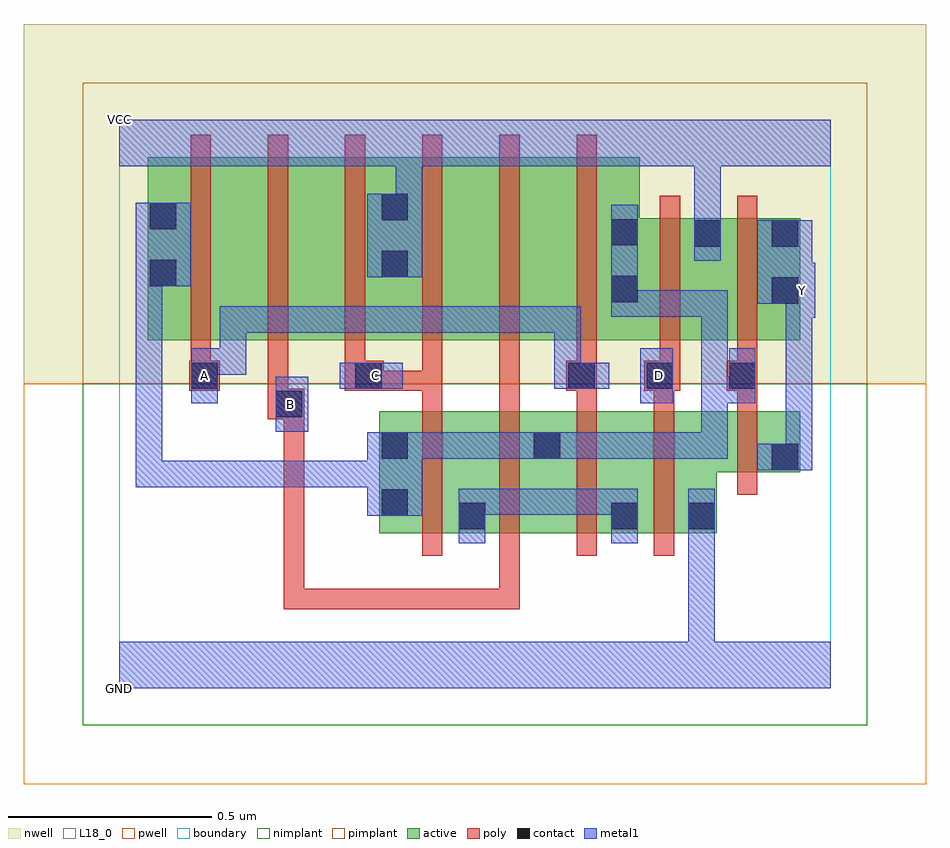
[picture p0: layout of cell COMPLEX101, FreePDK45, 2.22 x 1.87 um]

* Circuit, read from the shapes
.subckt COMPLEX101 A B C D GND VCC Y
M1 n1 C n2 VSUBS nfet w=0.3u l=0.05u
M2 n2 B n1 VSUBS nfet w=0.3u l=0.05u
M3 n1 A n2 VSUBS nfet w=0.3u l=0.05u
M4 GND D n1 VSUBS nfet w=0.3u l=0.05u
M5 Y n2 GND VSUBS nfet w=0.15u l=0.05u
M6 n3 A n2 n4 pfet w=0.45u l=0.05u
M7 n5 B n3 n4 pfet w=0.45u l=0.05u
M8 VCC C n5 n4 pfet w=0.45u l=0.05u
M9 n6 C VCC n4 pfet w=0.45u l=0.05u
M10 n7 B n6 n4 pfet w=0.45u l=0.05u
M11 n2 A n7 n4 pfet w=0.45u l=0.05u
M12 VCC D n2 n4 pfet w=0.3u l=0.05u
M13 Y n2 VCC n4 pfet w=0.3u l=0.05u
.ends

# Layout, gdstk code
import gdstk
lib = gdstk.Library(unit=1e-6, precision=1e-09)
def R(c, l, rs):  # rectangles x0, y0, x1, y1
    for r in rs: c.add(gdstk.rectangle(r[:2], r[2:], *l))
def A(c, l, x, y, w, h, nx, ny, dx, dy):  # array of equal rectangles
    R(c, l, [(x+i*dx, y+j*dy, x+i*dx+w, y+j*dy+h) for i in range(nx) for j in range(ny)])
active = (1, 0)
pwell = (2, 0)
nwell = (3, 0)
nimplant = (4, 0)
pimplant = (5, 0)
poly = (9, 0)
contact = (10, 0)
metal1 = (11, 0)
L18_0 = (18, 0)
boundary = (235, 0)

complex101 = lib.new_cell('COMPLEX101')
R(complex101, active, [(0.64,0.382,0.905,0.682), (0.83,0.382,1.09,0.682), (1.015,0.382,1.28,0.682), (1.205,0.382,1.47,0.682), (1.395,0.382,1.47,0.532), (0.83,0.387,0.905,0.682), (1.205,0.387,1.28,0.547), (0.64,0.395,0.715,0.682), (1.015,0.395,1.09,0.635), (1.395,0.532,1.675,0.682), (1.6,0.532,1.675,0.682), (0.07,0.857,0.295,1.307), (0.07,0.857,0.175,1.2), (0.295,0.857,0.485,1.307), (0.485,0.857,0.715,1.307), (0.64,0.857,0.865,1.307), (0.64,0.857,0.715,1.255), (0.865,0.857,1.055,1.307), (1.055,0.857,1.28,1.307), (1.205,0.857,1.485,1.157), (1.205,0.857,1.28,1.2), (1.41,0.857,1.675,1.157), (1.6,0.857,1.675,1.157), (1.41,1.007,1.485,1.157)])
R(complex101, pwell, [(-0.235,-0.235,1.985,0.75)])
R(complex101, nwell, [(-0.235,0.75,1.985,1.635)])
R(complex101, nimplant, [(-0.09,-0.09,1.84,0.75)])
R(complex101, pimplant, [(-0.09,0.75,1.84,1.49)])
A(complex101, poly, 0.745, 0.327, 0.05, 0.41, 4, 1, 0.19, 0)
A(complex101, poly, 0.745, 0.687, 0.05, 0.095, 4, 1, 0.19, 0)
A(complex101, poly, 0.175, 0.802, 0.05, 0.56, 6, 1, 0.19, 0)
R(complex101, poly, [(0.405,0.195,0.455,0.245), (0.405,0.195,0.455,0.245), (0.405,0.195,0.455,0.245), (0.405,0.195,0.455,0.245), (0.405,0.195,0.455,0.245), (0.405,0.195,0.587,0.245), (0.405,0.195,0.455,0.712), (0.537,0.195,0.587,0.245), (0.537,0.195,0.587,0.245), (0.537,0.195,0.587,0.245), (0.537,0.195,0.782,0.245), (0.732,0.195,0.782,0.245), (0.732,0.195,0.985,0.245), (0.935,0.195,0.985,0.245), (0.935,0.195,0.985,0.245), (0.935,0.195,0.985,0.245), (0.935,0.195,0.985,0.377), (1.52,0.477,1.57,0.737), (0.365,0.662,0.455,0.737), (0.405,0.662,0.455,0.712), (0.405,0.662,0.455,0.712), (0.405,0.662,0.455,0.712), (0.405,0.662,0.455,0.712), (0.365,0.687,0.415,0.852), (1.52,0.687,1.57,0.782), (0.172,0.732,0.247,0.807), (0.555,0.732,0.65,0.807), (0.6,0.732,0.65,0.782), (0.6,0.732,0.65,0.782), (0.6,0.732,0.795,0.782), (0.745,0.732,0.795,0.852), (0.745,0.732,0.795,0.782), (0.935,0.732,0.985,0.852), (0.935,0.732,0.985,0.782), (1.1,0.732,1.175,0.807), (1.292,0.732,1.38,0.807), (1.495,0.732,1.57,0.807), (0.175,0.757,0.225,0.852), (0.555,0.757,0.605,0.852), (1.125,0.757,1.175,0.852), (1.33,0.757,1.38,0.852), (1.52,0.757,1.57,0.852), (1.33,0.802,1.38,1.212), (1.52,0.802,1.57,1.212)])
R(complex101, contact, [(0.835,0.392,0.9,0.457), (1.21,0.392,1.275,0.457), (1.4,0.392,1.465,0.457), (0.645,0.425,0.71,0.49), (1.605,0.537,1.67,0.602), (0.645,0.565,0.71,0.63), (1.02,0.565,1.085,0.63), (0.385,0.667,0.45,0.732), (0.177,0.737,0.242,0.802), (0.58,0.737,0.645,0.802), (1.105,0.737,1.17,0.802), (1.297,0.737,1.362,0.802), (1.5,0.737,1.565,0.802), (1.605,0.947,1.67,1.012), (1.21,0.95,1.275,1.015), (0.075,0.99,0.14,1.055), (0.645,1.012,0.71,1.077), (1.415,1.087,1.48,1.152), (1.605,1.087,1.67,1.152), (1.21,1.09,1.275,1.155), (0.075,1.13,0.14,1.195), (0.645,1.152,0.71,1.217)])
R(complex101, metal1, [(0,0,1.75,0.115), (1.4,0.05,1.465,0.115), (1.4,0.05,1.465,0.115), (1.4,0.05,1.465,0.422), (0.835,0.357,0.9,0.492), (1.21,0.357,1.275,0.492), (1.4,0.357,1.465,0.422), (1.4,0.357,1.465,0.422), (1.4,0.357,1.465,0.492), (0.61,0.425,0.745,0.63), (0.835,0.427,0.9,0.492), (0.835,0.427,0.9,0.492), (0.835,0.427,1.05,0.492), (0.985,0.427,1.05,0.492), (0.985,0.427,1.05,0.492), (0.985,0.427,1.05,0.492), (0.985,0.427,1.275,0.492), (0.04,0.495,0.105,0.56), (0.04,0.495,0.105,0.56), (0.04,0.495,0.105,0.56), (0.04,0.495,0.312,0.56), (0.04,0.495,0.105,1.055), (0.247,0.495,0.312,0.56), (0.247,0.495,0.312,0.56), (0.247,0.495,0.312,0.56), (0.247,0.495,0.45,0.56), (0.385,0.495,0.45,0.56), (0.385,0.495,0.45,0.56), (0.385,0.495,0.45,0.56), (0.385,0.495,0.607,0.56), (0.542,0.495,0.607,0.56), (0.542,0.495,0.675,0.56), (1.57,0.537,1.705,0.602), (1.64,0.537,1.705,0.977), (0.68,0.565,0.745,0.63), (0.68,0.565,0.745,0.63), (0.68,0.565,0.912,0.63), (0.847,0.565,0.912,0.63), (0.847,0.565,0.912,0.63), (0.847,0.565,0.912,0.63), (0.847,0.565,1.05,0.63), (0.985,0.565,1.12,0.63), (1.055,0.565,1.12,0.63), (1.055,0.565,1.12,0.63), (1.055,0.565,1.272,0.63), (1.207,0.565,1.272,0.63), (1.207,0.565,1.272,0.63), (1.207,0.565,1.272,0.63), (1.207,0.565,1.497,0.63), (1.432,0.565,1.497,0.63), (1.432,0.565,1.497,0.767), (0.385,0.632,0.465,0.767), (0.177,0.702,0.242,0.837), (1.282,0.702,1.362,0.837), (1.432,0.702,1.497,0.767), (1.432,0.702,1.565,0.767), (1.432,0.702,1.497,0.98), (1.5,0.702,1.565,0.837), (0.542,0.737,0.697,0.802), (1.07,0.737,1.135,0.802), (1.07,0.737,1.135,0.802), (1.07,0.737,1.205,0.802), (1.07,0.737,1.135,0.94), (0.177,0.772,0.312,0.837), (0.247,0.772,0.312,0.837), (0.247,0.772,0.312,0.94), (0.247,0.875,0.312,0.94), (0.247,0.875,0.45,0.94), (0.385,0.875,0.45,0.94), (0.385,0.875,0.45,0.94), (0.385,0.875,0.45,0.94), (0.385,0.875,0.602,0.94), (0.537,0.875,0.602,0.94), (0.537,0.875,0.602,0.94), (0.537,0.875,0.602,0.94), (0.537,0.875,0.745,0.94), (0.68,0.875,0.745,0.94), (0.68,0.875,0.912,0.94), (0.847,0.875,0.912,0.94), (0.847,0.875,0.912,0.94), (0.847,0.875,0.912,0.94), (0.847,0.875,1.135,0.94), (1.07,0.875,1.135,0.94), (1.64,0.912,1.712,1.047), (1.21,0.915,1.275,0.98), (1.21,0.915,1.275,0.98), (1.21,0.915,1.497,0.98), (1.21,0.915,1.275,1.19), (1.432,0.915,1.497,0.98), (1.57,0.947,1.705,1.152), (1.64,0.947,1.705,1.012), (0.04,0.99,0.175,1.195), (0.61,1.012,0.745,1.217), (1.415,1.052,1.48,1.187), (1.415,1.122,1.48,1.35), (0.68,1.152,0.745,1.35), (0,1.285,1.75,1.4), (1.415,1.285,1.48,1.35), (1.415,1.285,1.48,1.35)])
R(complex101, L18_0, [(0,0,1.75,0.115), (1.4,0.05,1.465,0.115), (1.4,0.05,1.465,0.115), (1.4,0.05,1.465,0.422), (1.4,0.357,1.465,0.492), (1.4,0.357,1.465,0.422), (1.4,0.357,1.465,0.422), (1.57,0.537,1.705,0.602), (1.64,0.537,1.705,0.977), (0.385,0.632,0.465,0.767), (0.387,0.667,0.452,0.732), (0.177,0.702,0.242,0.837), (1.282,0.702,1.362,0.837), (0.177,0.737,0.242,0.802), (0.542,0.737,0.697,0.802), (0.597,0.737,0.662,0.802), (1.07,0.737,1.135,0.802), (1.07,0.737,1.135,0.802), (1.07,0.737,1.205,0.802), (1.07,0.737,1.135,0.94), (1.297,0.737,1.362,0.802), (0.177,0.772,0.312,0.837), (0.247,0.772,0.312,0.837), (0.247,0.772,0.312,0.94), (0.247,0.875,0.312,0.94), (0.247,0.875,0.45,0.94), (0.385,0.875,0.45,0.94), (0.385,0.875,0.45,0.94), (0.385,0.875,0.45,0.94), (0.385,0.875,0.602,0.94), (0.537,0.875,0.602,0.94), (0.537,0.875,0.602,0.94), (0.537,0.875,0.602,0.94), (0.537,0.875,0.745,0.94), (0.68,0.875,0.745,0.94), (0.68,0.875,0.912,0.94), (0.847,0.875,0.912,0.94), (0.847,0.875,0.912,0.94), (0.847,0.875,0.912,0.94), (0.847,0.875,1.135,0.94), (1.07,0.875,1.135,0.94), (1.64,0.912,1.712,1.047), (1.57,0.947,1.705,1.152), (1.64,0.947,1.705,1.012), (1.647,0.947,1.712,1.012), (0.61,1.012,0.745,1.217), (1.415,1.052,1.48,1.187), (1.415,1.122,1.48,1.35), (0.68,1.152,0.745,1.35), (0,1.285,1.75,1.4), (1.415,1.285,1.48,1.35), (1.415,1.285,1.48,1.35)])
R(complex101, boundary, [(0,0,1.75,1.4)])
complex101.add(gdstk.Label('A', (0.21,0.77), layer=11, texttype=0))
complex101.add(gdstk.Label('B', (0.42,0.7), layer=11, texttype=0))
complex101.add(gdstk.Label('C', (0.63,0.77), layer=11, texttype=0))
complex101.add(gdstk.Label('D', (1.33,0.77), layer=11, texttype=0))
complex101.add(gdstk.Label('Y', (1.68,0.98), layer=11, texttype=0))
complex101.add(gdstk.Label('VCC', (0,1.4), layer=11, texttype=0))
complex101.add(gdstk.Label('GND', (0,0), layer=11, texttype=0))

lib.write_gds('COMPLEX101.gds')
